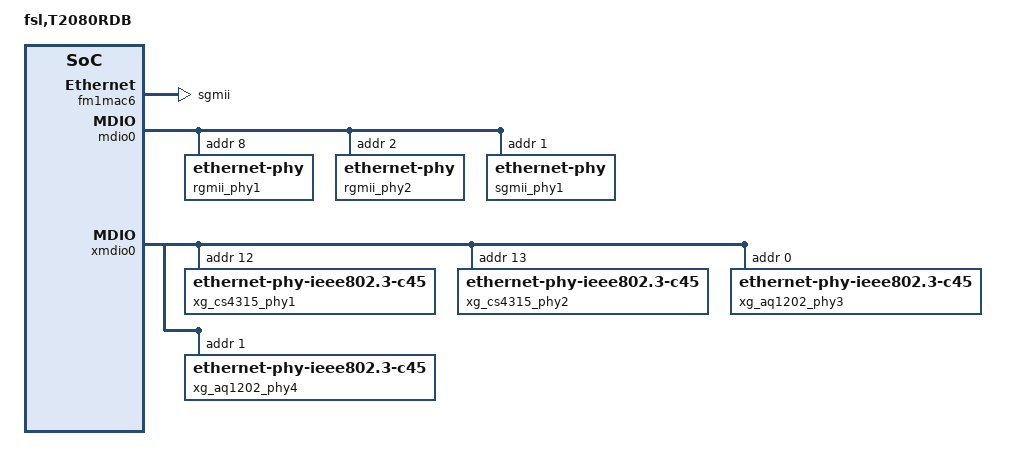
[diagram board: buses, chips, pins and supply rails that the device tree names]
/*
 * T2080PCIe-RDB Board Device Tree Source
 *
 * Copyright 2014 Freescale Semiconductor Inc.
 *
 * Redistribution and use in source and binary forms, with or without
 * modification, are permitted provided that the following conditions are met:
 *     * Redistributions of source code must retain the above copyright
 *	 notice, this list of conditions and the following disclaimer.
 *     * Redistributions in binary form must reproduce the above copyright
 *	 notice, this list of conditions and the following disclaimer in the
 *	 documentation and/or other materials provided with the distribution.
 *     * Neither the name of Freescale Semiconductor nor the
 *	 names of its contributors may be used to endorse or promote products
 *	 derived from this software without specific prior written permission.
 *
 *
 * ALTERNATIVELY, this software may be distributed under the terms of the
 * GNU General Public License ("GPL") as published by the Free Software
 * Foundation, either version 2 of that License or (at your option) any
 * later version.
 *
 * THIS SOFTWARE IS PROVIDED BY Freescale Semiconductor "AS IS" AND ANY
 * EXPRESS OR IMPLIED WARRANTIES, INCLUDING, BUT NOT LIMITED TO, THE IMPLIED
 * WARRANTIES OF MERCHANTABILITY AND FITNESS FOR A PARTICULAR PURPOSE ARE
 * DISCLAIMED. IN NO EVENT SHALL Freescale Semiconductor BE LIABLE FOR ANY
 * DIRECT, INDIRECT, INCIDENTAL, SPECIAL, EXEMPLARY, OR CONSEQUENTIAL DAMAGES
 * (INCLUDING, BUT NOT LIMITED TO, PROCUREMENT OF SUBSTITUTE GOODS OR SERVICES;
 * LOSS OF USE, DATA, OR PROFITS; OR BUSINESS INTERRUPTION) HOWEVER CAUSED AND
 * ON ANY THEORY OF LIABILITY, WHETHER IN CONTRACT, STRICT LIABILITY, OR TORT
 * (INCLUDING NEGLIGENCE OR OTHERWISE) ARISING IN ANY WAY OUT OF THE USE OF THIS
 * SOFTWARE, EVEN IF ADVISED OF THE POSSIBILITY OF SUCH DAMAGE.
 */

/include/ "fsl/t208xsi-pre.dtsi"
/include/ "fsl/t208xrdb.dtsi"
/include/ "t600.dtsi"

/ {
	model = "fsl,T2080RDB";
	compatible = "fsl,T2080RDB";
	#address-cells = <2>;
	#size-cells = <2>;
	interrupt-parent = <&mpic>;

	rio: rapidio@ffe0c0000 {
		reg = <0xf 0xfe0c0000 0 0x11000>;

		port1 {
			ranges = <0 0 0xc 0x20000000 0 0x10000000>;
		};
		port2 {
			ranges = <0 0 0xc 0x30000000 0 0x10000000>;
		};
	};
};

&soc {
	fman0: fman@400000 {
		fm1mac1: ethernet@e0000 { /* 10GEC3 */
			status = "disabled";
		};

		fm1mac2: ethernet@e2000 { /* 10GEC4 */
			status = "disabled";
		};

		fm1mac3: ethernet@e4000 {
			phy-handle = <&rgmii_phy1>;
			phy-connection-type = "rgmii";
		};

		fm1mac4: ethernet@e6000 {
			status = "disabled";
		};

		fm1mac5: ethernet@e8000 {
			status = "disabled";
		};

		fm1mac6: ethernet@ea000 {
			fixed-link = <0x1 0x1 0x3e8 0x0 0x0>;
			phy-connection-type = "sgmii";
			cell-index = <0x5>;
			compatible = "fsl,fman-memac";
			reg = <0xea000 0x1000>;
			fsl,port-handles = <0x18 0x19>;
			ptimer-handle = <0xc>;
			linux,phandle = <0x29>;
			phandle = <0x29>;
			#phy-handle = <&sgmii_phy1>;
		};

		fm1mac9: ethernet@f0000 { /* 10GEC1 */
			status = "disabled";
		};

		fm1mac10: ethernet@f2000 { /* 10GEC2 */
			status = "disabled";
		};

		mdio0: mdio@fc000 {
			rgmii_phy1: ethernet-phy@1 {
				reg = <0x8>;
			};
			rgmii_phy2: ethernet-phy@2 {
				reg = <0x2>;
			};
			sgmii_phy1: ethernet-phy@3 {
				reg = <0x1>;
			};
		};

		xmdio0: mdio@fd000 {
			xg_cs4315_phy1: ethernet-phy@c {
				compatible = "ethernet-phy-ieee802.3-c45";
				reg = <0xc>;
			};
			xg_cs4315_phy2: ethernet-phy@d {
				compatible = "ethernet-phy-ieee802.3-c45";
				reg = <0xd>;
			};
			xg_aq1202_phy3: ethernet-phy@0 {
				compatible = "ethernet-phy-ieee802.3-c45";
				reg = <0x0>;
			};
			xg_aq1202_phy4: ethernet-phy@1 {
				compatible = "ethernet-phy-ieee802.3-c45";
				reg = <0x1>;
			};
		};
	};
};

/include/ "fsl/t2080si-post.dtsi"
/include/ "fsl/qoriq-dpaa-res3.dtsi"
/include/ "fsl/qoriq-qman-ceetm0.dtsi"
